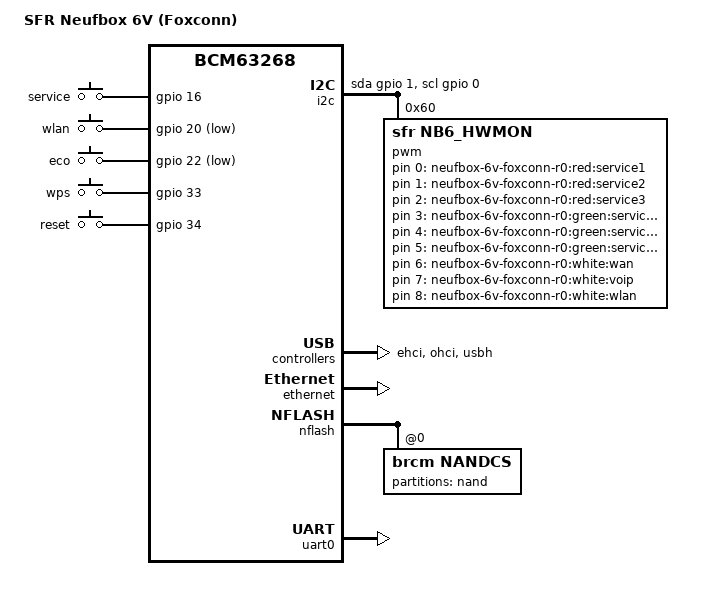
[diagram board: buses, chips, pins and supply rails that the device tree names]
// SPDX-License-Identifier: GPL-2.0-or-later

#include "bcm63268.dtsi"

/ {
	model = "SFR Neufbox 6V (Foxconn)";
	compatible = "sfr,neufbox-6v-foxconn-r0", "brcm,bcm63168", "brcm,bcm63268";

	aliases {
		led-boot = &led_service1_green;
		led-failsafe = &led_service1_red;
		led-running = &led_service1_green;
		led-upgrade = &led_service1_green;
	};

	i2c {
		compatible = "i2c-gpio";
		sda-gpios = <&gpio 1 (GPIO_ACTIVE_HIGH|GPIO_OPEN_DRAIN)>;
		scl-gpios = <&gpio 0 (GPIO_ACTIVE_HIGH|GPIO_OPEN_DRAIN)>;
		#address-cells = <1>;
		#size-cells = <0>;

		pwm: nb6-hwmon@60 {
			compatible = "sfr,nb6_hwmon";
			reg = <0x60>;
			#pwm-cells = <2>;
		};
	};

	keys {
		compatible = "gpio-keys-polled";
		poll-interval = <20>;

		service {
			label = "service";
			gpios = <&gpio 16 GPIO_ACTIVE_HIGH>;
			linux,code = <BTN_0>;
			debounce-interval = <60>;
		};

		wlan {
			label = "wlan";
			gpios = <&gpio 20 GPIO_ACTIVE_LOW>;
			linux,code = <KEY_WLAN>;
			debounce-interval = <60>;
		};

		eco {
			label = "eco";
			gpios = <&gpio 22 GPIO_ACTIVE_LOW>;
			linux,code = <BTN_1>;
			debounce-interval = <60>;
		};

		wps {
			label = "wps";
			gpios = <&gpio 33 GPIO_ACTIVE_HIGH>;
			linux,code = <KEY_WPS_BUTTON>;
			debounce-interval = <60>;
		};

		reset {
			label = "reset";
			gpios = <&gpio 34 GPIO_ACTIVE_HIGH>;
			linux,code = <KEY_RESTART>;
			debounce-interval = <60>;
		};
	};

	pwm-leds {
		compatible = "pwm-leds";

		led_service1_red: service1_red {
			label = "neufbox-6v-foxconn-r0:red:service1";
			pwms = <&pwm 0 31>;
			max-brightness = <31>;
		};

		service2_red {
			label = "neufbox-6v-foxconn-r0:red:service2";
			pwms = <&pwm 1 31>;
			max-brightness = <31>;
		};

		service3_red {
			label = "neufbox-6v-foxconn-r0:red:service3";
			pwms = <&pwm 2 31>;
			max-brightness = <31>;
		};

		led_service1_green: service1_green {
			label = "neufbox-6v-foxconn-r0:green:service1";
			pwms = <&pwm 3 31>;
			max-brightness = <31>;
		};

		service2_green {
			label = "neufbox-6v-foxconn-r0:green:service2";
			pwms = <&pwm 4 31>;
			max-brightness = <31>;
		};

		service3_green {
			label = "neufbox-6v-foxconn-r0:green:service3";
			pwms = <&pwm 5 31>;
			max-brightness = <31>;
		};

		wan_white {
			label = "neufbox-6v-foxconn-r0:white:wan";
			pwms = <&pwm 6 31>;
			max-brightness = <31>;
		};

		voip_white {
			label = "neufbox-6v-foxconn-r0:white:voip";
			pwms = <&pwm 7 31>;
			max-brightness = <31>;
		};

		wlan_white {
			label = "neufbox-6v-foxconn-r0:white:wlan";
			pwms = <&pwm 8 31>;
			max-brightness = <31>;
		};
	};

/*
	switch {
		compatible = "realtek,rtl8366rb";
		//gpio-sda = <&gpio 8 GPIO_ACTIVE_LOW>;
		//gpio-sck = <&gpio 9 GPIO_ACTIVE_LOW>;
		//realtek,extif0 = <1 5 1 1 1 1 1 1 2>;
		mdc-gpios = <&gpio 8 GPIO_ACTIVE_HIGH>;
		mdio-gpios = <&gpio 9 GPIO_ACTIVE_HIGH>;

		mdio {
			compatible = "realtek,smi-mdio", "dsa-mdio";
			#address-cells = <1>;
			#size-cells = <0>;

			ephy0: phy@0 {
				reg = <0>;
			};

			ephy1: phy@1 {
				reg = <1>;
			};

			ephy2: phy@2 {
				reg = <2>;
			};

			ephy3: phy@3 {
				reg = <3>;
			};

			ephy4: phy@4 {
				reg = <4>;
			};
		};

		ports {
			#address-cells = <1>;
			#size-cells = <0>;
			reg = <0>;

			port@0 {
				reg = <0>;
				label = "lan0";

				phy-handle = <&ephy0>;
			};

			port@1 {
				reg = <1>;
				label = "lan1";

				phy-handle = <&ephy1>;
			};

			port@2 {
				reg = <2>;
				label = "lan2";

				phy-handle = <&ephy2>;
			};

			port@3 {
				reg = <3>;
				label = "lan3";

				phy-handle = <&ephy3>;
			};

			port@4 {
				reg = <4>;
				label = "wan";

				phy-handle = <&ephy4>;
			};

			port@5 {
				reg = <5>;
				label = "cpu";

				ethernet = <&switch0port4>;
				phy-mode = "rgmii";

				fixed-link {
					speed = <1000>;
					full-duplex;
				};
			};
		};
	};
*/
};

&ehci {
	status = "okay";
};

&ethernet {
	status = "okay";

	nvmem-cells = <&macaddr_cferom_6a0>;
	nvmem-cell-names = "mac-address";
};

/*
&mdio_ext {
	switch@1e {
		compatible = "realtek,rtl8366rb";
		reg = <30>;

		dsa,member = <1 0>;

		ports {
			#address-cells = <1>;
			#size-cells = <0>;

			port@1 {
				reg = <1>;
				label = "lan3";
			};

			port@2 {
				reg = <2>;
				label = "lan2";
			};

			port@3 {
				reg = <3>;
				label = "lan1";
			};

			port@4 {
				reg = <4>;
				label = "lan4";
			};

			port@8 {
				reg = <8>;

				phy-mode = "rgmii";
				ethernet = <&switch0port4>;

				fixed-link {
					speed = <1000>;
					full-duplex;
				};
			};
		};
	};
};
*/

&nflash {
	status = "okay";

	nandcs@0 {
		compatible = "brcm,nandcs";
		reg = <0>;
		nand-ecc-step-size = <512>;
		nand-ecc-strength = <15>;
		nand-on-flash-bbt;
		brcm,nand-oob-sector-size = <64>;

		#address-cells = <1>;
		#size-cells = <1>;

		partitions {
			compatible = "fixed-partitions";
			#address-cells = <1>;
			#size-cells = <1>;

			cferom: partition@0 {
				label = "nand";
				reg = <0x0000000 0x4000000>;
				read-only;
			};
		};
	};
};

&ohci {
	status = "okay";
};

&switch0 {
	ports {
		switch0port4: port@4 {
			reg = <4>;
			label = "extsw";

			phy-mode = "rgmii-id";

			fixed-link {
				speed = <1000>;
				full-duplex;
			};
		};

		switch0port5: port@5 {
			reg = <5>;
			label = "extsw2";

			phy-mode = "rgmii-id";

			fixed-link {
				speed = <1000>;
				full-duplex;
			};
		};
	};
};

&uart0 {
	status = "okay";
};

&usbh {
	status = "okay";
};

&cferom {
	compatible = "nvmem-cells";
	#address-cells = <1>;
	#size-cells = <1>;

	macaddr_cferom_6a0: macaddr@6a0 {
		reg = <0x6a0 0x6>;
	};
};
